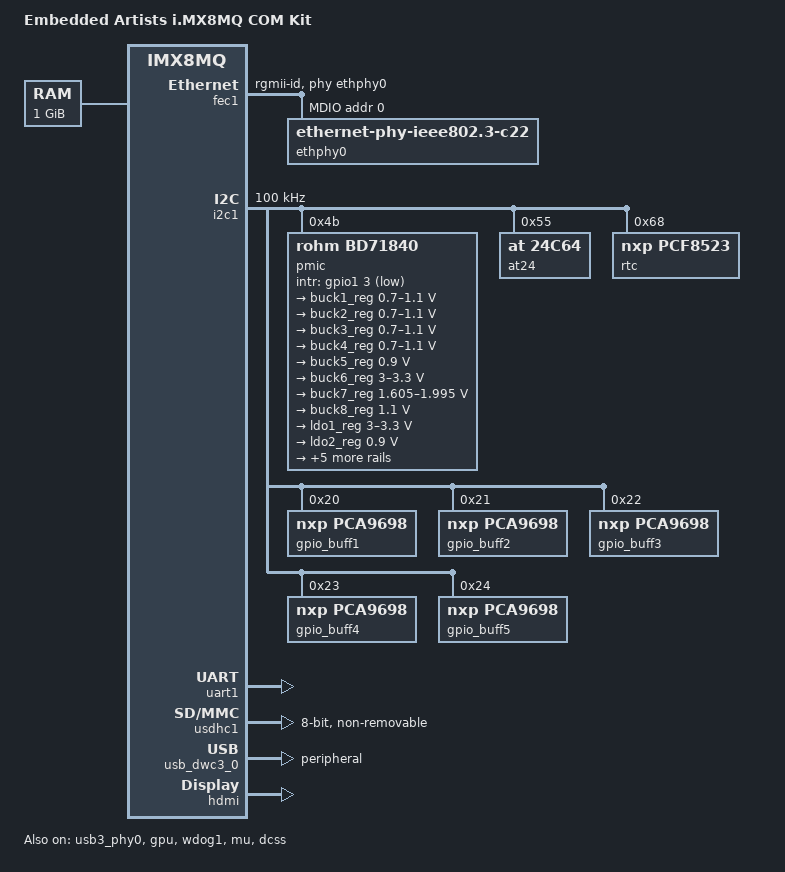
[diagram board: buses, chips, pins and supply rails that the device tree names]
/*
 * Copyright (C) 2016 Freescale Semiconductor, Inc.
 * Copyright 2017 NXP
 *
 * This program is free software; you can redistribute it and/or
 * modify it under the terms of the GNU General Public License
 * as published by the Free Software Foundation; either version 2
 * of the License, or (at your option) any later version.
 *
 * This program is distributed in the hope that it will be useful,
 * but WITHOUT ANY WARRANTY; without even the implied warranty of
 * MERCHANTABILITY or FITNESS FOR A PARTICULAR PURPOSE.  See the
 * GNU General Public License for more details.
 */

/dts-v1/;

#include "imx8mq.dtsi"

/ {
	model = "Embedded Artists i.MX8MQ COM Kit ";
	compatible = "fsl,imx8mqea-com", "fsl,imx8mq";

	chosen {
		bootargs = "console=ttymxc0,115200 earlycon=ec_imx6q,0x30860000,115200";
		stdout-path = &uart1;
	};

	memory@40000000 {
		device_type = "memory";
		reg = <0x00000000 0x40000000 0 0x40000000>;
	};

	resmem: reserved-memory {
		#address-cells = <2>;
		#size-cells = <2>;
		ranges;

		/* global autoconfigured region for contiguous allocations */
		linux,cma {
			compatible = "shared-dma-pool";
			reusable;
			size = <0 0x1e000000>;
			alloc-ranges = <0 0x40000000 0 0x40000000>;
			linux,cma-default;
		};
	};

};


&clk {
	assigned-clocks = <&clk IMX8MQ_AUDIO_PLL1>, <&clk IMX8MQ_AUDIO_PLL2>;
	assigned-clock-rates = <722534400>, <722534400>;
};

&iomuxc {
	pinctrl-names = "default";
	pinctrl-0 = <&pinctrl_usb1>, <&pinctrl_test>;

	imx8mqea-com {
		pinctrl_test: tstgrp {
			fsl,pins = <
				/* From: pinctrl_i2c2: i2c2grp */
				MX8MQ_IOMUXC_I2C2_SCL_GPIO5_IO16     0xC6
				MX8MQ_IOMUXC_I2C2_SDA_GPIO5_IO17     0xC6

				/* From: pinctrl_i2c2: i2c2grp */
				MX8MQ_IOMUXC_I2C3_SCL_GPIO5_IO18     0xC6
				MX8MQ_IOMUXC_I2C3_SDA_GPIO5_IO19     0xC6

				/* From: pinctrl_uart2: uart2grp */
				MX8MQ_IOMUXC_UART2_RXD_GPIO5_IO24    0xC6
				MX8MQ_IOMUXC_UART2_TXD_GPIO5_IO25    0xC6
				MX8MQ_IOMUXC_UART4_TXD_GPIO5_IO29    0xC6
				MX8MQ_IOMUXC_UART4_RXD_GPIO5_IO28    0xC6

				/* From: pinctrl_uart3: uart3grp */
				MX8MQ_IOMUXC_UART3_TXD_GPIO5_IO27    0xC6
				MX8MQ_IOMUXC_UART3_RXD_GPIO5_IO26    0xC6

				/* From: pinctrl_usdhc2_gpio: usdhc2grpgpio */
				MX8MQ_IOMUXC_SD2_CLK_GPIO2_IO13       0xC6
				MX8MQ_IOMUXC_SD2_CMD_GPIO2_IO14	      0xC6
				MX8MQ_IOMUXC_SD2_DATA0_GPIO2_IO15     0xC6
				MX8MQ_IOMUXC_SD2_DATA1_GPIO2_IO16     0xC6
				MX8MQ_IOMUXC_SD2_DATA2_GPIO2_IO17     0xC6
				MX8MQ_IOMUXC_SD2_DATA3_GPIO2_IO18     0xC6
				MX8MQ_IOMUXC_GPIO1_IO04_GPIO1_IO4     0xC6   /* SD2 VSELECT */
				MX8MQ_IOMUXC_SD2_CD_B_GPIO2_IO12      0xC6   /* SD2 CD */

				/* From: pinctrl_pwm1: pwm1grp */
				MX8MQ_IOMUXC_SPDIF_EXT_CLK_GPIO5_IO5  0xC6

				/* From: pinctrl_exp_conn: expconngrp */
				MX8MQ_IOMUXC_I2C4_SDA_GPIO5_IO21	0xC6    /* GPIO_H */
										/* GPIO_J Not Connected */
				/*MX8MQ_IOMUXC_GPIO1_IO00_GPIO1_IO0	0xC6       GPIO_K shared with SD1_VSELECT */
				MX8MQ_IOMUXC_NAND_READY_B_GPIO3_IO16	0xC6    /* GPIO_P */
				MX8MQ_IOMUXC_NAND_ALE_GPIO3_IO0		0xC6    /* GPIO_Q */
				MX8MQ_IOMUXC_NAND_CE0_B_GPIO3_IO1	0xC6	/* GPIO_R */
				MX8MQ_IOMUXC_NAND_CE1_B_GPIO3_IO2	0xC6	/* GPIO_S */
				MX8MQ_IOMUXC_NAND_DATA00_GPIO3_IO6	0xC6	/* GPIO_T */
				MX8MQ_IOMUXC_NAND_DATA01_GPIO3_IO7	0xC6	/* GPIO_U */
				MX8MQ_IOMUXC_NAND_DATA02_GPIO3_IO8	0xC6	/* GPIO_V shared with powerkey */
				MX8MQ_IOMUXC_NAND_DATA03_GPIO3_IO9	0xC6	/* GPIO_W */
				MX8MQ_IOMUXC_NAND_DQS_GPIO3_IO14	0xC6	/* GPIO_X */
				MX8MQ_IOMUXC_NAND_CLE_GPIO3_IO5		0xC6	/* GPIO_Y */
				MX8MQ_IOMUXC_NAND_CE2_B_GPIO3_IO3	0xC6	/* GPIO_Z */
				MX8MQ_IOMUXC_NAND_CE3_B_GPIO3_IO4	0xC6	/* GPIO_AA */
				MX8MQ_IOMUXC_NAND_DATA04_GPIO3_IO10	0xC6	/* GPIO_AB */
				MX8MQ_IOMUXC_NAND_DATA05_GPIO3_IO11	0xC6	/* GPIO_AC */
				MX8MQ_IOMUXC_NAND_DATA06_GPIO3_IO12	0xC6	/* GPIO_AD */
				MX8MQ_IOMUXC_NAND_DATA07_GPIO3_IO13	0xC6	/* GPIO_AE */
				MX8MQ_IOMUXC_NAND_RE_B_GPIO3_IO15	0xC6	/* GPIO_AF */
				/*MX8MQ_IOMUXC_GPIO1_IO02_GPIO1_IO2	0xC6	   GPIO_AG shared with PMIC WDOG */
				/*MX8MQ_IOMUXC_GPIO1_IO03_GPIO1_IO3	0xC6	   GPIO_AH shared with PMIC IRQ */
				/*MX8MQ_IOMUXC_GPIO1_IO09_GPIO1_IO9	0xC6	   GPIO_AJ shared with ENET RST */
				/*MX8MQ_IOMUXC_GPIO1_IO10_GPIO1_IO10	0xC6	   GPIO_AK shared with ENET WOL_INT */
				/*MX8MQ_IOMUXC_GPIO1_IO11_GPIO1_IO11	0xC6	   GPIO_AL shared with ENET INT */
										/* GPIO_AP Not Connected */
										/* GPIO_AQ CLK_32K */
										/* GPIO_AR POR_B */
										/* GPIO_AS RTC_RESET_B */
										/* GPIO_AT PMIC_ON_REQ */
										/* GPIO_AU PMIC_STBY_REQ */
				/*MX8MQ_IOMUXC_GPIO1_IO04_GPIO1_IO4	0xC6       GPIO_AV shared with PMIC SD_VSEL */
			>;
		};

		pinctrl_fec1: fec1grp {
			fsl,pins = <
				MX8MQ_IOMUXC_ENET_MDC_ENET1_MDC		0x3
				MX8MQ_IOMUXC_ENET_MDIO_ENET1_MDIO	0x23
				MX8MQ_IOMUXC_ENET_TD3_ENET1_RGMII_TD3	0x1f
				MX8MQ_IOMUXC_ENET_TD2_ENET1_RGMII_TD2	0x1f
				MX8MQ_IOMUXC_ENET_TD1_ENET1_RGMII_TD1	0x1f
				MX8MQ_IOMUXC_ENET_TD0_ENET1_RGMII_TD0	0x1f
				MX8MQ_IOMUXC_ENET_RD3_ENET1_RGMII_RD3	0x91
				MX8MQ_IOMUXC_ENET_RD2_ENET1_RGMII_RD2	0x91
				MX8MQ_IOMUXC_ENET_RD1_ENET1_RGMII_RD1	0x91
				MX8MQ_IOMUXC_ENET_RD0_ENET1_RGMII_RD0	0x91
				MX8MQ_IOMUXC_ENET_TXC_ENET1_RGMII_TXC	0x1f
				MX8MQ_IOMUXC_ENET_RXC_ENET1_RGMII_RXC	0x91
				MX8MQ_IOMUXC_ENET_RX_CTL_ENET1_RGMII_RX_CTL	0x91
				MX8MQ_IOMUXC_ENET_TX_CTL_ENET1_RGMII_TX_CTL	0x1f
				MX8MQ_IOMUXC_GPIO1_IO09_GPIO1_IO9	0x19
			>;
		};

		pinctrl_i2c1: i2c1grp {
			fsl,pins = <
				MX8MQ_IOMUXC_I2C1_SCL_I2C1_SCL			0x4000007f
				MX8MQ_IOMUXC_I2C1_SDA_I2C1_SDA			0x4000007f
			>;
		};

		pinctrl_usb1: usb1grp {
			fsl,pins = <
				MX8MQ_IOMUXC_GPIO1_IO12_USB1_OTG_PWR		0x19
				MX8MQ_IOMUXC_GPIO1_IO13_USB1_OTG_OC		0x19
			>;
		};

		pinctrl_pcie0: pcie0grp {
			fsl,pins = <
				MX8MQ_IOMUXC_I2C4_SCL_PCIE1_CLKREQ_B		0x76 /* open drain, pull up */
				MX8MQ_IOMUXC_GPIO1_IO06_GPIO1_IO6		0x19 /* PCIE_PERST_L */
			>;
		};

		pinctrl_uart1: uart1grp {
			fsl,pins = <
				MX8MQ_IOMUXC_UART1_RXD_UART1_DCE_RX		0x49
				MX8MQ_IOMUXC_UART1_TXD_UART1_DCE_TX		0x49
			>;
		};

		pinctrl_usdhc1: usdhc1grp {
			fsl,pins = <
				MX8MQ_IOMUXC_SD1_CLK_USDHC1_CLK			0x83
				MX8MQ_IOMUXC_SD1_CMD_USDHC1_CMD			0xc3
				MX8MQ_IOMUXC_SD1_DATA0_USDHC1_DATA0		0xc3
				MX8MQ_IOMUXC_SD1_DATA1_USDHC1_DATA1		0xc3
				MX8MQ_IOMUXC_SD1_DATA2_USDHC1_DATA2		0xc3
				MX8MQ_IOMUXC_SD1_DATA3_USDHC1_DATA3		0xc3
				MX8MQ_IOMUXC_SD1_DATA4_USDHC1_DATA4		0xc3
				MX8MQ_IOMUXC_SD1_DATA5_USDHC1_DATA5		0xc3
				MX8MQ_IOMUXC_SD1_DATA6_USDHC1_DATA6		0xc3
				MX8MQ_IOMUXC_SD1_DATA7_USDHC1_DATA7		0xc3
				MX8MQ_IOMUXC_SD1_STROBE_USDHC1_STROBE           0x83
				MX8MQ_IOMUXC_SD1_RESET_B_USDHC1_RESET_B		0xc1
			>;
		};

		pinctrl_usdhc1_100mhz: usdhc1grp100mhz {
			fsl,pins = <
				MX8MQ_IOMUXC_SD1_CLK_USDHC1_CLK			0x8d
				MX8MQ_IOMUXC_SD1_CMD_USDHC1_CMD			0xcd
				MX8MQ_IOMUXC_SD1_DATA0_USDHC1_DATA0		0xcd
				MX8MQ_IOMUXC_SD1_DATA1_USDHC1_DATA1		0xcd
				MX8MQ_IOMUXC_SD1_DATA2_USDHC1_DATA2		0xcd
				MX8MQ_IOMUXC_SD1_DATA3_USDHC1_DATA3		0xcd
				MX8MQ_IOMUXC_SD1_DATA4_USDHC1_DATA4		0xcd
				MX8MQ_IOMUXC_SD1_DATA5_USDHC1_DATA5		0xcd
				MX8MQ_IOMUXC_SD1_DATA6_USDHC1_DATA6		0xcd
				MX8MQ_IOMUXC_SD1_DATA7_USDHC1_DATA7		0xcd
				MX8MQ_IOMUXC_SD1_STROBE_USDHC1_STROBE		0x8d
				MX8MQ_IOMUXC_SD1_RESET_B_USDHC1_RESET_B		0xc1
			>;
		};

		pinctrl_usdhc1_200mhz: usdhc1grp200mhz {
			fsl,pins = <
				MX8MQ_IOMUXC_SD1_CLK_USDHC1_CLK			0x9f
				MX8MQ_IOMUXC_SD1_CMD_USDHC1_CMD			0xdf
				MX8MQ_IOMUXC_SD1_DATA0_USDHC1_DATA0		0xdf
				MX8MQ_IOMUXC_SD1_DATA1_USDHC1_DATA1		0xdf
				MX8MQ_IOMUXC_SD1_DATA2_USDHC1_DATA2		0xdf
				MX8MQ_IOMUXC_SD1_DATA3_USDHC1_DATA3		0xdf
				MX8MQ_IOMUXC_SD1_DATA4_USDHC1_DATA4		0xdf
				MX8MQ_IOMUXC_SD1_DATA5_USDHC1_DATA5		0xdf
				MX8MQ_IOMUXC_SD1_DATA6_USDHC1_DATA6		0xdf
				MX8MQ_IOMUXC_SD1_DATA7_USDHC1_DATA7		0xdf
				MX8MQ_IOMUXC_SD1_STROBE_USDHC1_STROBE		0x9f
				MX8MQ_IOMUXC_SD1_RESET_B_USDHC1_RESET_B		0xc1
			>;
		};

		pinctrl_sai2: sai2grp {
			fsl,pins = <
				MX8MQ_IOMUXC_SAI2_TXFS_SAI2_TX_SYNC	0xd6
				MX8MQ_IOMUXC_SAI2_TXC_SAI2_TX_BCLK	0xd6
				MX8MQ_IOMUXC_SAI2_MCLK_SAI2_MCLK	0xd6
				MX8MQ_IOMUXC_SAI2_TXD0_SAI2_TX_DATA0	0xd6
				MX8MQ_IOMUXC_GPIO1_IO08_GPIO1_IO8	0xd6
			>;
		};

		pinctrl_wdog: wdoggrp {
			fsl,pins = <
				MX8MQ_IOMUXC_GPIO1_IO02_WDOG1_WDOG_B 0xc6
			>;
		};

		pinctrl_pmic: pmicirq {
			fsl,pins = <
				MX8MQ_IOMUXC_GPIO1_IO03_GPIO1_IO3		0x41
			>;
		};
	};
};

&fec1 {
	pinctrl-names = "default";
	pinctrl-0 = <&pinctrl_fec1>;
	phy-mode = "rgmii-id";
	phy-handle = <&ethphy0>;
	fsl,magic-packet;
	status = "okay";

	mdio {
		#address-cells = <1>;
		#size-cells = <0>;

		ethphy0: ethernet-phy@0 {
			compatible = "ethernet-phy-ieee802.3-c22";
			reg = <0>;
			at803x,led-act-blind-workaround;
			at803x,eee-disabled;
		};
	};
};

&i2c1 {
	clock-frequency = <100000>;
	pinctrl-names = "default";
	pinctrl-0 = <&pinctrl_i2c1>;
	status = "okay";

	pmic: bd71837@4b {
		reg = <0x4b>;
		compatible = "rohm,bd71840", "rohm,bd71837";
		/* PMIC BD71837 PMIC_nINT GPIO1_IO3 */
		pinctrl-0 = <&pinctrl_pmic>;
		gpio_intr = <&gpio1 3 GPIO_ACTIVE_LOW>;

		bd71837,pmic-buck1-uses-i2c-dvs;
		bd71837,pmic-buck1-dvs-voltage = <900000>, <850000>, <800000>; /* VDD_SOC */
		bd71837,pmic-buck2-uses-i2c-dvs;
		bd71837,pmic-buck2-dvs-voltage = <1000000>, <900000>, <0>; /* VDD_ARM: Run-Idle */
		bd71837,pmic-buck3-uses-i2c-dvs;
		bd71837,pmic-buck3-dvs-voltage = <1000000>, <0>, <0>; /* VDD_GPU */
		bd71837,pmic-buck4-uses-i2c-dvs;
		bd71837,pmic-buck4-dvs-voltage = <1000000>, <0>, <0>; /* VDD_VPU */

		/* TODO: investigate how this is used in driver */
		gpo {
			rohm,drv = <0x0C>;	/* 0b0000_1100 all gpos with cmos output mode */
		};

		regulators {
			#address-cells = <1>;
			#size-cells = <0>;


			buck1_reg: regulator@0 { /* VDD_SOC_0V9 */
				reg = <0>;
				regulator-compatible = "buck1";
				regulator-min-microvolt = <700000>;
				regulator-max-microvolt = <1100000>;
				regulator-boot-on;
				regulator-always-on;
				regulator-ramp-delay = <1250>;
			};

			buck2_reg: regulator@1 { /* VDD_ARM_0V9 */
				reg = <1>;
				regulator-compatible = "buck2";
				regulator-min-microvolt = <700000>;
				regulator-max-microvolt = <1100000>;
				regulator-boot-on;
				regulator-always-on;
				regulator-ramp-delay = <1250>;
			};

			buck3_reg: regulator@2 { /* VDD_GPU_0V9 */
				reg = <2>;
				regulator-compatible = "buck3";
				regulator-min-microvolt = <700000>;
				regulator-max-microvolt = <1100000>;
				regulator-boot-on;
			};

			buck4_reg: regulator@3 { /* VDD_VPU_0V9 */
				reg = <3>;
				regulator-compatible = "buck4";
				regulator-min-microvolt = <700000>;
				regulator-max-microvolt = <1100000>;
				regulator-boot-on;
			};

			buck5_reg: regulator@4 { /* VDD_DRAM_0V9 */
				reg = <4>;
				regulator-compatible = "buck5";
				regulator-min-microvolt = <900000>;
				regulator-max-microvolt = <900000>;
				regulator-boot-on;
				regulator-always-on;
			};

			buck6_reg: regulator@5 { /* NVCC_3V3 */
				reg = <5>;
				regulator-compatible = "buck6";
				regulator-min-microvolt = <3000000>;
				regulator-max-microvolt = <3300000>;
				regulator-boot-on;
				regulator-always-on;
			};

			buck7_reg: regulator@6 { /* NVCC_1V8 */
				reg = <6>;
				regulator-compatible = "buck7";
				regulator-min-microvolt = <1605000>;
				regulator-max-microvolt = <1995000>;
				regulator-boot-on;
				regulator-always-on;
			};

			buck8_reg: regulator@7 { /* NVCC_DRAM_1V1 */
				reg = <7>;
				regulator-compatible = "buck8";
				regulator-min-microvolt = <1100000>;
				regulator-max-microvolt = <1100000>;
				regulator-boot-on;
				regulator-always-on;
			};

			ldo1_reg: regulator@8 { /* NVCC_SNVS_3V3 */
				reg = <8>;
				regulator-compatible = "ldo1";
				regulator-min-microvolt = <3000000>;
				regulator-max-microvolt = <3300000>;
				regulator-boot-on;
				regulator-always-on;
			};

			ldo2_reg: regulator@9 { /* NVCC_SNVS_0V9 */
				reg = <9>;
				regulator-compatible = "ldo2";
				regulator-min-microvolt = <900000>;
				regulator-max-microvolt = <900000>;
				regulator-boot-on;
				regulator-always-on;
			};

			ldo3_reg: regulator@10 { /* VDDA_1V8 */
				reg = <10>;
				regulator-compatible = "ldo3";
				regulator-min-microvolt = <1800000>;
				regulator-max-microvolt = <3300000>;
				regulator-boot-on;
				regulator-always-on;
			};

			ldo4_reg: regulator@11 { /* VDDA_0P9 */
				reg = <11>;
				regulator-compatible = "ldo4";
				regulator-min-microvolt = <900000>;
				regulator-max-microvolt = <1800000>;
				regulator-boot-on;
				regulator-always-on;
			};

                        ldo5_reg: regulator@12 { /* VDD_PHY_1V8 */
                                reg = <12>;
                                regulator-compatible = "ldo5";
                                regulator-min-microvolt = <1800000>;
                                regulator-max-microvolt = <1800000>;
                                regulator-boot-on;
                                regulator-always-on;
                        };

			ldo6_reg: regulator@13 { /* VDD_PHY_0V9 */
				reg = <13>;
				regulator-compatible = "ldo6";
				regulator-min-microvolt = <900000>;
				regulator-max-microvolt = <900000>;
				regulator-boot-on;
				regulator-always-on;
			};

                        ldo7_reg: regulator@14 { /* VDD_PHY_3V3 */
                                reg = <14>;
                                regulator-compatible = "ldo7";
                                regulator-min-microvolt = <3300000>;
                                regulator-max-microvolt = <3300000>;
                                regulator-boot-on;
                                regulator-always-on;
                        };
		};
	};


	at24@55 {
		compatible = "at,24c64";
		pagesize = <32>;
		reg = <0x55>;
	};

	rtc: pcf8523@68 {
		compatible = "nxp,pcf8523";
		reg = <0x68>;
	};

        gpio_buff1: pca9698@20 {
                compatible = "nxp,pca9698";
                reg = <0x20>;
                gpio-controller;
                #gpio-cells = <2>;
        };
        gpio_buff2: pca9698@21 {
                compatible = "nxp,pca9698";
                reg = <0x21>;
                gpio-controller;
                #gpio-cells = <2>;
        };
        gpio_buff3: pca9698@22 {
                compatible = "nxp,pca9698";
                reg = <0x22>;
                gpio-controller;
                #gpio-cells = <2>;
        };
        gpio_buff4: pca9698@23 {
                compatible = "nxp,pca9698";
                reg = <0x23>;
                gpio-controller;
                #gpio-cells = <2>;
        };
        gpio_buff5: pca9698@24 {
                compatible = "nxp,pca9698";
                reg = <0x24>;
                gpio-controller;
                #gpio-cells = <2>;
        };
};

&i2c2 {
	status = "disabled";
};
 
&i2c3 {
	status = "disabled";
};

&pcie0{
	pinctrl-names = "default";
	pinctrl-0 = <&pinctrl_pcie0>;
	reset-gpio = <&gpio1 6 GPIO_ACTIVE_LOW>;   /* PCIE_PERST_L */
	/*disable-gpio = <&gpio_buff 1 GPIO_ACTIVE_LOW>;  WL REG ON */
	ext_osc = <1>;
	/* TODO: what does this mean? Check with driver! */
	hard-wired = <1>;
	status = "disabled";
};


&uart1 { /* console */
	pinctrl-names = "default";
	pinctrl-0 = <&pinctrl_uart1>;
	assigned-clocks = <&clk IMX8MQ_CLK_UART1>;
	assigned-clock-parents = <&clk IMX8MQ_CLK_25M>;
	status = "okay";
};

&uart2 { /* Bluetooth UART */
	status = "disabled";
};

&uart3 { 
	status = "disabled";
};

&usdhc1 {
	pinctrl-names = "default", "state_100mhz", "state_200mhz";
	pinctrl-0 = <&pinctrl_usdhc1>;
	pinctrl-1 = <&pinctrl_usdhc1_100mhz>;
	pinctrl-2 = <&pinctrl_usdhc1_200mhz>;
	bus-width = <8>;
	non-removable;
	status = "okay";
};

&usdhc2 {
	status = "disabled";
};

&usb3_phy0 {
	status = "okay";
};

/* Must be set to peripheral mode for uuu to work */
&usb_dwc3_0 {
	status = "okay";
	dr_mode = "peripheral";
};

&usb3_phy1 {
	status = "disabled";
};

&usb_dwc3_1 {
	status = "disabled";
	dr_mode = "host";
};

&sai2 {
	status = "disabled";
};

&sai4 {
	status = "disabled";
};

/*
 * The current bd71837 PMIC driver doesn't support buck3/4 to be
 * enabled / disabled. Because of this these regulators are set
 * as boot-on and we don't assign a power supply to gpu/vpu below.
 * Change this when the bd71837-regulator.c driver has been
 * upgraded to support enable/disable.
 *
&gpu_pd {
	power-supply = <&buck3_reg>;
};


&vpu_pd {
	power-supply = <&buck4_reg>;
};
*/


&gpu {
	status = "okay";
};

&vpu {
	regulator-supply = <&buck4_reg>;
	status = "disabled";
};

&wdog1 {
	pinctrl-names = "default";
	pinctrl-0 = <&pinctrl_wdog>;
	fsl,ext-reset-output;
	status = "okay";
};

&mu {
	status = "okay";
};

&A53_0 {
	operating-points = <
		/* kHz    uV */
		1500000 1000000
		1300000 1000000
		1000000 900000
		800000  900000
	>;
	arm-supply = <&buck2_reg>;
};



&dcss {
	status = "okay";

	disp-dev = "hdmi_disp";
};

&hdmi {
	fsl,no_edid;
	status = "okay";
};

&pwm1 {
	status = "disabled";
};
